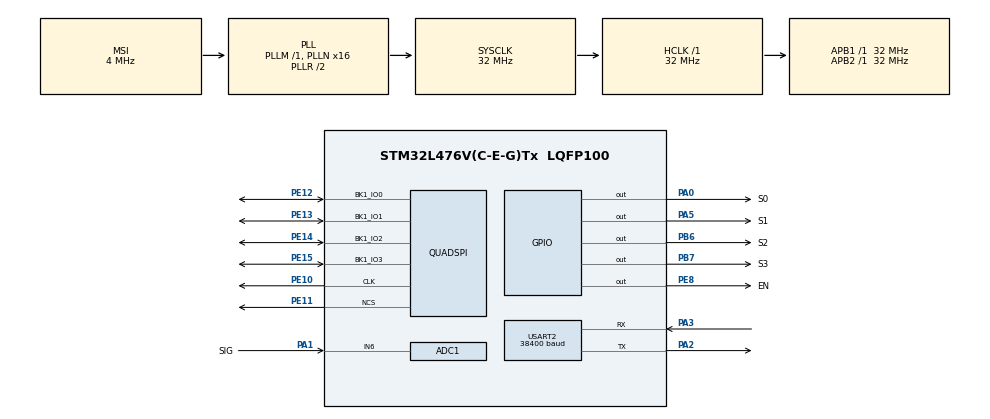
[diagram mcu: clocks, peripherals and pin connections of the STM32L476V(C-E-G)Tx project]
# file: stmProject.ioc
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ADC1.Channel-9\#ChannelRegularConversion=ADC_CHANNEL_6
ADC1.NbrOfConversionFlag=1
ADC1.OffsetNumber-9\#ChannelRegularConversion=ADC_OFFSET_NONE
ADC1.Rank-9\#ChannelRegularConversion=1
ADC1.SamplingTime-9\#ChannelRegularConversion=ADC_SAMPLETIME_92CYCLES_5
ADC1.master=1
Dma.Request0=USART2_RX
Dma.USART2_RX.0.Direction=DMA_PERIPH_TO_MEMORY
Dma.USART2_RX.0.Instance=DMA1_Channel6
Dma.USART2_RX.0.MemDataAlignment=DMA_MDATAALIGN_BYTE
Dma.USART2_RX.0.MemInc=DMA_MINC_ENABLE
Dma.USART2_RX.0.Mode=DMA_NORMAL
Dma.USART2_RX.0.PeriphDataAlignment=DMA_PDATAALIGN_BYTE
Dma.USART2_RX.0.PeriphInc=DMA_PINC_DISABLE
Dma.USART2_RX.0.Priority=DMA_PRIORITY_LOW
Mcu.Family=STM32L4
Mcu.Name=STM32L476V(C-E-G)Tx
Mcu.Package=LQFP100
NVIC.DMA1_Channel6_IRQn=true\:0\:0\:false\:false\:true\:false\:true\:true
NVIC.PriorityGroup=NVIC_PRIORITYGROUP_4
NVIC.RTC_Alarm_IRQn=true\:0\:0\:false\:false\:true\:true\:true\:true
NVIC.USART2_IRQn=true\:0\:0\:false\:false\:true\:true\:true\:true
PA0.GPIO_Label=S0
PA0.Signal=GPIO_Output
PA1.GPIO_Label=SIG
PA1.Signal=ADCx_IN6
PA2.Mode=Asynchronous
PA2.Signal=USART2_TX
PA3.Mode=Asynchronous
PA3.Signal=USART2_RX
PA5.GPIO_Label=S1
PA5.Signal=GPIO_Output
PB6.GPIO_Label=S2
PB6.Signal=GPIO_Output
PB7.GPIO_Label=S3
PB7.Signal=GPIO_Output
PC14-OSC32_IN\ (PC14).Mode=LSE-External-Oscillator
PC14-OSC32_IN\ (PC14).Signal=RCC_OSC32_IN
PC15-OSC32_OUT\ (PC15).Mode=LSE-External-Oscillator
PC15-OSC32_OUT\ (PC15).Signal=RCC_OSC32_OUT
PE10.Mode=Single Bank
PE10.Signal=QUADSPI_CLK
PE11.Mode=Single Bank
PE11.Signal=QUADSPI_NCS
PE12.Mode=Single Bank
PE12.Signal=QUADSPI_BK1_IO0
PE13.Mode=Single Bank
PE13.Signal=QUADSPI_BK1_IO1
PE14.Mode=Single Bank
PE14.Signal=QUADSPI_BK1_IO2
PE15.Mode=Single Bank
PE15.Signal=QUADSPI_BK1_IO3
PE8.GPIO_Label=EN
PE8.Signal=GPIO_Output
PH0-OSC_IN\ (PH0).Mode=HSE-External-Oscillator
PH0-OSC_IN\ (PH0).Signal=RCC_OSC_IN
PH1-OSC_OUT\ (PH1).Mode=HSE-External-Oscillator
PH1-OSC_OUT\ (PH1).Signal=RCC_OSC_OUT
ProjectManager.HeapSize=0x200
ProjectManager.StackSize=0x400
ProjectManager.TargetToolchain=STM32CubeIDE
QUADSPI.ChipSelectHighTime-Single\ Bank=QSPI_CS_HIGH_TIME_6_CYCLE
QUADSPI.ClockPrescaler-Single\ Bank=1
QUADSPI.FifoThreshold-Single\ Bank=4
QUADSPI.FlashSize-Single\ Bank=23
QUADSPI.SampleShifting-Single\ Bank=QSPI_SAMPLE_SHIFTING_HALFCYCLE
RCC.ADCFreq_Value=48000000
RCC.AHBFreq_Value=32000000
RCC.APB1Freq_Value=32000000
RCC.APB1TimFreq_Value=32000000
RCC.APB2Freq_Value=32000000
RCC.APB2TimFreq_Value=32000000
RCC.CortexFreq_Value=32000000
RCC.HCLKFreq_Value=32000000
RCC.HSE_VALUE=8000000
RCC.HSI_VALUE=16000000
RCC.MSI_VALUE=4000000
RCC.PLLN=16
RCC.PLLSAI1N=24
RCC.PREFETCH_ENABLE=1
RCC.RTCClockSelection=RCC_RTCCLKSOURCE_LSE
RCC.SYSCLKFreq_VALUE=32000000
RCC.SYSCLKSource=RCC_SYSCLKSOURCE_PLLCLK
RCC.USBFreq_Value=48000000
RCC.VCOOutputFreq_Value=64000000
RTC.Alarm-Alarm\ A=RTC_ALARM_A
RTC.AlarmMaskDateWeekDay-Alarm\ A=RTC_ALARMMASK_DATEWEEKDAY
RTC.AlarmMaskHours-Alarm\ A=RTC_ALARMMASK_HOURS
RTC.AlarmMaskMinutes-Alarm\ A=RTC_ALARMMASK_MINUTES
RTC.AlarmMaskSeconds-Alarm\ A=RTC_ALARMMASK_SECONDS
RTC.Date=25
RTC.Format=RTC_FORMAT_BIN
RTC.Hours=12
RTC.Month=RTC_MONTH_APRIL
RTC.Year=22
SH.ADCx_IN6.0=ADC1_IN6,IN6-Single-Ended
TIM2.Period=19999
TIM2.Prescaler=999
TIM2.TIM_MasterOutputTrigger=TIM_TRGO_UPDATE
USART2.BaudRate=38400
USART2.VirtualMode-Asynchronous=VM_ASYNC
VP_RTC_VS_RTC_Activate.Mode=RTC_Enabled
VP_RTC_VS_RTC_Alarm_A_Intern.Mode=Alarm A
VP_RTC_VS_RTC_Calendar.Mode=RTC_Calendar
VP_TIM2_VS_ClockSourceINT.Mode=Internal
board=STM32L476G-DISCO

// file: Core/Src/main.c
/* USER CODE BEGIN Header */
/**
 ******************************************************************************
 * @file           : main.c
 * @brief          : Main program body
 ******************************************************************************
 * @attention
 *
 * <h2><center>&copy; Copyright (c) 2022 STMicroelectronics.
 * All rights reserved.</center></h2>
 *
 * This software component is licensed by ST under BSD 3-Clause license,
 * the "License"; You may not use this file except in compliance with the
 * License. You may obtain a copy of the License at:
 *                        opensource.org/licenses/BSD-3-Clause
 *
 ******************************************************************************
 */
/* USER CODE END Header */
#include "main.h"
#include "adc.h"
#include "dma.h"
#include "quadspi.h"
#include "rtc.h"
#include "tim.h"
#include "usart.h"
#include "gpio.h"

/* USER CODE BEGIN Includes */
#include <string.h>
#include <stdio.h>
#include <stdlib.h>
#include <time.h>
#include "hc4067.h"
#include "operations.h"
#include "parser.h"

/* USER CODE END Includes */

/* USER CODE BEGIN PD */

#define RxBuf_SIZE 50
#define MainBuf_SIZE 50

/* USER CODE END PD */

/* USER CODE BEGIN PV */

uint8_t error_code = 0;

uint8_t RxBuf[RxBuf_SIZE];
uint8_t MainBuf[MainBuf_SIZE];
uint8_t size = 0;

uint8_t init_ready = RESET;

Command com;

uint8_t interval_counter = 0;
uint8_t working_mode = 1;
uint8_t meas_interval = 1;

Measurement mes;
uint8_t f_data_ready = RESET;

/* USER CODE END PV */

void SystemClock_Config(void);

/* USER CODE BEGIN 0 */
HAL_StatusTypeDef runCommand(Command com)
{
	switch(com.id)
	{
	case GET_TIME: // print current time
	{
		printf("%lu\n", getCurrTimestamp());
		break;
	}
	case SET_TIME: // set current time
	{
		time_t new_time = (time_t)com.data;
		struct tm *t;
		t = localtime (&new_time);

		setDate(t->tm_mday, t->tm_mon + 1, t->tm_year - 100, t->tm_wday + 1);
		setTime(t->tm_sec, t->tm_min, t->tm_hour);
		break;
	}
	case GET_ALL_MEAS: // print all saved measurments and clear memory
	{
		if(sendData() != HAL_OK)
			return HAL_ERROR;
		break;
	}
	case WORK_MOD_ON: // stop making new measurements
	{
		working_mode = 1;
		break;

	}
	case WORK_MOD_OFF: // start making new measurements
	{
		working_mode = 0;
		break;
	}
	case CHANGE_INT: // change interval between measurements
	{
		if(com.data > 0)
		{
			meas_interval = com.data;
		}
		else
			return HAL_ERROR;
		break;
	}
	default:
		return HAL_ERROR;
	}
	return HAL_OK;
}

void HAL_RTC_AlarmAEventCallback(RTC_HandleTypeDef *hrtc)
{
	  if(f_data_ready == RESET && init_ready == SET && working_mode == 1)
	  {
		  if(++interval_counter >= meas_interval)
		  {
			  readMeasurements(&hadc1, &mes);
			  mes.time = getCurrTimestamp();
			  f_data_ready = SET;
			  interval_counter = 0;
		  }
	  }

}

void HAL_UART_RxCpltCallback(UART_HandleTypeDef *huart)
{
	if (huart->Instance == USART2)
	{
		if(size == 0)
		{
			size = atoi((char *)RxBuf);

			if(size > 0 && size <= RxBuf_SIZE)
			{
				__HAL_UART_CLEAR_OREFLAG(&huart2);
				HAL_UART_Receive_DMA(&huart2, RxBuf, size);
				printf("OK\n");
			}
			else
			{
				HAL_UART_Receive_DMA(&huart2, RxBuf, 2);
				printf("ERROR\n");
			}
		}
		else
		{
			if(ParseData(RxBuf, size) == HAL_OK)
			{
				printf("OK\n");
				if(runCommand(com) == HAL_OK)
				{
					printf("OK\n");
				}
				else
				{
					printf("ERROR\n");
				}
			}
			else
			{
				printf("ERROR\n");
			}

			size = 0;
			HAL_UART_Receive_DMA(&huart2, RxBuf, 2);
		}
	}
}

/* USER CODE END 0 */

int main(void)
{

  /* MCU Configuration--------------------------------------------------------*/

  /* Reset of all peripherals, Initializes the Flash interface and the Systick. */
  HAL_Init();

  /* USER CODE BEGIN Init */
  uint8_t i = 0;
  error_code +=  __HAL_RCC_GET_FLAG(RCC_FLAG_BORRST) << i++;
  error_code +=  __HAL_RCC_GET_FLAG(RCC_FLAG_OBLRST) << i++;
  error_code +=  __HAL_RCC_GET_FLAG(RCC_FLAG_PINRST) << i++;
  error_code +=  __HAL_RCC_GET_FLAG(RCC_FLAG_FWRST) << i++;
  error_code +=  __HAL_RCC_GET_FLAG(RCC_FLAG_SFTRST) << i++;
  error_code +=  __HAL_RCC_GET_FLAG(RCC_FLAG_IWDGRST) << i++;
  error_code +=  __HAL_RCC_GET_FLAG(RCC_FLAG_LSERDY) << i++;
  error_code +=  __HAL_RCC_GET_FLAG(RCC_FLAG_LPWRRST) << i++;
  /* USER CODE END Init */

  /* Configure the system clock */
  SystemClock_Config();

  /* Initialize all configured peripherals */
  MX_GPIO_Init();
  MX_QUADSPI_Init();
  MX_ADC1_Init();
  MX_RTC_Init();
  MX_DMA_Init();
  MX_TIM2_Init();
  MX_USART2_UART_Init();
  /* USER CODE BEGIN 2 */

	 //Inicjalizacja

	 if (CSP_QUADSPI_Init() != HAL_OK)
		 Error_Handler();

	 if (CSP_QSPI_Erase_Chip() != HAL_OK)
		 Error_Handler();

	 //Ustawienie daty i godziny
	 if (setDate(13, 06, 22, 1) != HAL_OK)
		 Error_Handler();

	 if (setTime(00,30,17) != HAL_OK)
		 Error_Handler();

  /* USER CODE END 2 */

  /* Infinite loop */
  /* USER CODE BEGIN WHILE */
	HAL_UART_Receive_DMA(&huart2, RxBuf, 2);
	init_ready = SET;
	while (1) {

		if(f_data_ready == SET)
		{
			storeData(mes);
			f_data_ready = RESET;
		}

		if(huart2.ErrorCode)
		{
			__disable_irq();

			HAL_UART_MspDeInit(&huart2);
			HAL_UART_MspInit(&huart2);

			__enable_irq();
			HAL_UART_Receive_DMA(&huart2, RxBuf, 2);
		}
    /* USER CODE END WHILE */

	}
}

void SystemClock_Config(void)
{
  RCC_OscInitTypeDef RCC_OscInitStruct = {0};
  RCC_ClkInitTypeDef RCC_ClkInitStruct = {0};
  RCC_PeriphCLKInitTypeDef PeriphClkInit = {0};

  /** Configure LSE Drive Capability
  */
  HAL_PWR_EnableBkUpAccess();
  __HAL_RCC_LSEDRIVE_CONFIG(RCC_LSEDRIVE_LOW);
  /** Initializes the RCC Oscillators according to the specified parameters
  * in the RCC_OscInitTypeDef structure.
  */
  RCC_OscInitStruct.OscillatorType = RCC_OSCILLATORTYPE_LSE|RCC_OSCILLATORTYPE_MSI;
  RCC_OscInitStruct.LSEState = RCC_LSE_ON;
  RCC_OscInitStruct.MSIState = RCC_MSI_ON;
  RCC_OscInitStruct.MSICalibrationValue = 0;
  RCC_OscInitStruct.MSIClockRange = RCC_MSIRANGE_6;
  RCC_OscInitStruct.PLL.PLLState = RCC_PLL_ON;
  RCC_OscInitStruct.PLL.PLLSource = RCC_PLLSOURCE_MSI;
  RCC_OscInitStruct.PLL.PLLM = 1;
  RCC_OscInitStruct.PLL.PLLN = 16;
  RCC_OscInitStruct.PLL.PLLP = RCC_PLLP_DIV7;
  RCC_OscInitStruct.PLL.PLLQ = RCC_PLLQ_DIV2;
  RCC_OscInitStruct.PLL.PLLR = RCC_PLLR_DIV2;
  if (HAL_RCC_OscConfig(&RCC_OscInitStruct) != HAL_OK)
  {
    Error_Handler();
  }
  /** Initializes the CPU, AHB and APB buses clocks
  */
  RCC_ClkInitStruct.ClockType = RCC_CLOCKTYPE_HCLK|RCC_CLOCKTYPE_SYSCLK
                              |RCC_CLOCKTYPE_PCLK1|RCC_CLOCKTYPE_PCLK2;
  RCC_ClkInitStruct.SYSCLKSource = RCC_SYSCLKSOURCE_PLLCLK;
  RCC_ClkInitStruct.AHBCLKDivider = RCC_SYSCLK_DIV1;
  RCC_ClkInitStruct.APB1CLKDivider = RCC_HCLK_DIV1;
  RCC_ClkInitStruct.APB2CLKDivider = RCC_HCLK_DIV1;

  if (HAL_RCC_ClockConfig(&RCC_ClkInitStruct, FLASH_LATENCY_1) != HAL_OK)
  {
    Error_Handler();
  }
  PeriphClkInit.PeriphClockSelection = RCC_PERIPHCLK_RTC|RCC_PERIPHCLK_USART2
                              |RCC_PERIPHCLK_ADC;
  PeriphClkInit.Usart2ClockSelection = RCC_USART2CLKSOURCE_PCLK1;
  PeriphClkInit.AdcClockSelection = RCC_ADCCLKSOURCE_PLLSAI1;
  PeriphClkInit.RTCClockSelection = RCC_RTCCLKSOURCE_LSE;
  PeriphClkInit.PLLSAI1.PLLSAI1Source = RCC_PLLSOURCE_MSI;
  PeriphClkInit.PLLSAI1.PLLSAI1M = 1;
  PeriphClkInit.PLLSAI1.PLLSAI1N = 24;
  PeriphClkInit.PLLSAI1.PLLSAI1P = RCC_PLLP_DIV7;
  PeriphClkInit.PLLSAI1.PLLSAI1Q = RCC_PLLQ_DIV2;
  PeriphClkInit.PLLSAI1.PLLSAI1R = RCC_PLLR_DIV2;
  PeriphClkInit.PLLSAI1.PLLSAI1ClockOut = RCC_PLLSAI1_ADC1CLK;
  if (HAL_RCCEx_PeriphCLKConfig(&PeriphClkInit) != HAL_OK)
  {
    Error_Handler();
  }
  /** Configure the main internal regulator output voltage
  */
  if (HAL_PWREx_ControlVoltageScaling(PWR_REGULATOR_VOLTAGE_SCALE1) != HAL_OK)
  {
    Error_Handler();
  }
  /** Enable MSI Auto calibration
  */
  HAL_RCCEx_EnableMSIPLLMode();
}

void Error_Handler(void)
{
  /* USER CODE BEGIN Error_Handler_Debug */
	/* User can add his own implementation to report the HAL error return state */
	printf("ERROR\r\n");
  /* USER CODE END Error_Handler_Debug */
}

/************************ (C) COPYRIGHT STMicroelectronics *****END OF FILE****/
